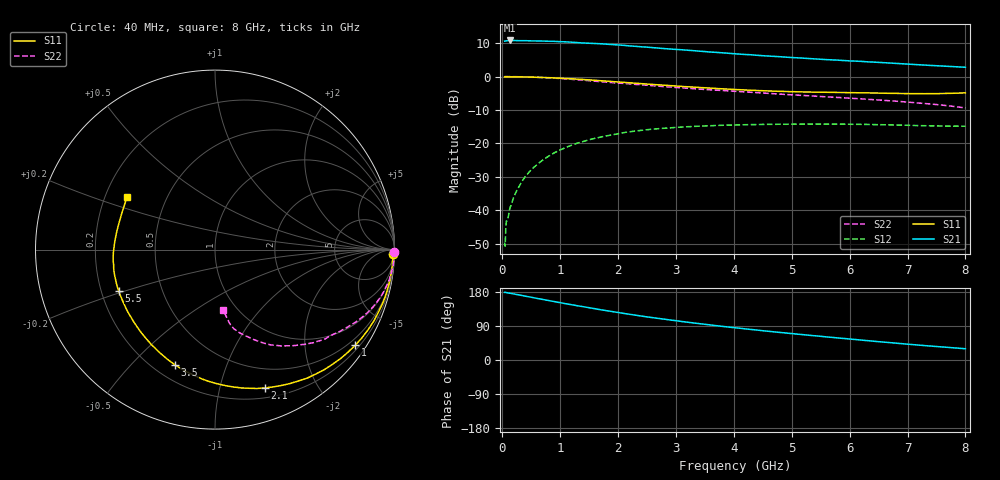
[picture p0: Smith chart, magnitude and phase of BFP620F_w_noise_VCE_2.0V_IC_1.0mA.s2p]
! Infineon Technologies  Discrete & RF Semiconductors
! BFP620F
! VCE =  2.0 V,  IC =  1.0 mA
! Common Emitter S-Parameters:  Dec 2014
# GHz  S  MA  R  50
!  f  S11  S21  S12  S22
! GHz  MAG  ANG  MAG  ANG  MAG  ANG  MAG  ANG
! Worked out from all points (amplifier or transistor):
!   94 points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, 40 MHz to 8 GHz, reference 50 ohm
!   highest |S21| = 10.8 dB at 130 MHz (marker M1)
!   |S21| within 3 dB of that: start of sweep to 3.262 GHz
!   unconditionally stable (mu >= 1): 7.027 GHz to end of sweep
!   at 350 MHz: K = -0.01, MSG = 20.9 dB, |S12| = -31.1 dB
!   at 3.4 GHz: K = 0.46, MSG = 11.2 dB, |S12| = -14.8 dB
!   at 8 GHz: K = 1.17, MAG = 6.3 dB, |S12| = -14.9 dB
!   lowest NFmin = 0.63 dB at 450 MHz
!   S11 on the Smith chart (normalised r, x): 40 MHz: 27, -79; 1 GHz: 0.32, -3.21; 2.1 GHz: 0.30, -1.38; 3.5 GHz: 0.28, -0.67; 5.5 GHz: 0.27, -0.19; 8 GHz: 0.29, +0.26
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0.04  0.9921 -1.3  3.396 178.4  0.0033 90.6  0.9994 -0.9
0.05  0.9918 -1.7  3.415 178.4  0.0029 68.0  0.9999 -1.1
0.06  0.9932 -2.0  3.412 178.3  0.0053 90.0  1 -1.2
0.07  0.9923 -2.3  3.43 177.9  0.0069 92.9  0.9986 -1.5
0.1  0.9912 -3.4  3.453 177.1  0.0078 84.3  0.9989 -2.0
0.13  0.9906 -4.5  3.473 176.3  0.0105 85.6  0.9988 -2.7
0.25  0.9895 -8.6  3.453 172.8  0.0197 85.5  0.9957 -5.2
0.45  0.9841 -15.4  3.434 167.0  0.0361 81.6  0.9863 -9.3
0.7  0.9706 -24.0  3.4 159.8  0.0564 76.0  0.9677 -14.3
1  0.946 -34.3  3.33 151.3  0.0799 69.2  0.9357 -20.0
1.1  0.9357 -37.7  3.313 148.4  0.0871 66.8  0.9235 -21.9
1.4  0.9049 -47.6  3.182 140.6  0.1072 60.0  0.8823 -27.2
1.7  0.8669 -57.6  3.097 132.6  0.1244 53.7  0.8388 -32.3
2.1  0.819 -70.2  2.933 122.9  0.1452 46.1  0.7905 -39.0
2.7  0.7524 -87.7  2.669 109.7  0.1663 36.0  0.7188 -47.4
3.5  0.6798 -109.0  2.369 94.2  0.1823 25.3  0.6417 -56.5
4.1  0.6369 -123.9  2.168 83.8  0.1898 18.7  0.5972 -61.5
4.7  0.6054 -138.5  2.005 74.2  0.1932 13.1  0.554 -65.8
5.4  0.5856 -154.7  1.84 63.9  0.1945 7.6  0.5093 -70.6
5.5  0.5837 -156.9  1.817 62.5  0.1943 6.9  0.5028 -71.2
6.7  0.5616 177.5  1.594 45.8  0.1893 -0.7  0.4344 -77.9
8  0.5713 149.0  1.379 29.7  0.1807 -3.9  0.3396 -82.6
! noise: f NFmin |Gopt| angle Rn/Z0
0.45  0.63  0.7  11  0.33
0.9  0.82  0.71  21  0.28
1.5  0.98  0.64  33  0.28
1.8  1.05  0.63  37  0.28
1.9  1.07  0.6  46  0.29
2.4  1.19  0.58  59  0.27
3.5  1.44  0.56  83  0.2
5.5  1.85  0.41  143  0.17
6  1.94  0.29  161  0.33
